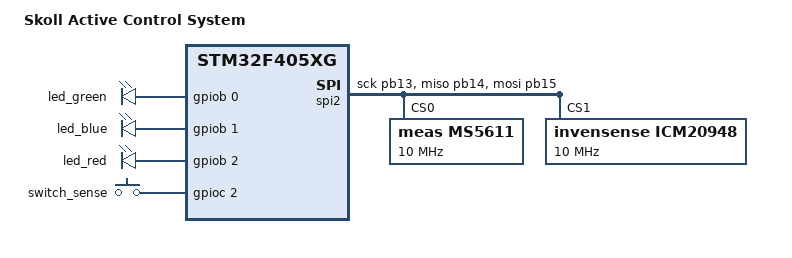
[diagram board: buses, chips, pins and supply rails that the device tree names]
/dts-v1/;

#include <st/f4/stm32f405Xg.dtsi>
#include <st/f4/stm32f405rgtx-pinctrl.dtsi>
#include "skoll.dtsi"
/*
things that we need to define:
PWM: buzzer, servo1, servo2, servo3, servo4 X
boot switch X
gpio: ledG, ledB, ledR, switch X
Oscillator (only Kconfig) X
SPI: MS5611, ICM20948 - add spi settings and icm20948 driver
battery sense X
can X
usb X
programming X

for each of the above I need to add: pinctrl, node (peripheral), setting, status, 
alias, chosen (?)
*/

/ {
    model = "Skoll Active Control System";
    compatible = "aesir,skoll";

    chosen{
		zephyr,flash = &flash0;
        zephyr,sram = &sram0;
        zephyr,spi2 = &spi2;
        zephyr,can1 = &can1;
    };

    aliases{
        spi2 = &spi2;
        can1 = &can1;
    };

    leds{
        compatible = "gpio-leds";

        led_green: led_green{
            gpios = <&gpiob 0 GPIO_ACTIVE_HIGH>;
        };

        led_blue: led_blue{
            gpios = <&gpiob 1 GPIO_ACTIVE_HIGH>;
        };

        led_red: led_red{
            gpios = <&gpiob 2 GPIO_ACTIVE_HIGH>;
        };
    };

    switches{
        compatible = "gpio-keys";

        switch_sense: switch_sense{
            gpios = <&gpioc 2 GPIO_ACTIVE_HIGH>;
        };
    };

    pwm {        
        servo1: servo1 {
            status = "okay";
            pwms = <&pwm1 1 PWM_MSEC(20) PWM_POLARITY_NORMAL>;
        };

        servo2: servo2 {
            status = "okay";
            pwms = <&pwm2 2 PWM_MSEC(20) PWM_POLARITY_NORMAL>;
        };

        servo3: servo3 {
            status = "okay";
            pwms = <&pwm3 3 PWM_MSEC(20) PWM_POLARITY_NORMAL>;
        };

        servo4: servo4 {
            status = "okay";
            pwms = <&pwm4 1 PWM_MSEC(20) PWM_POLARITY_NORMAL>;
        };

        buzzer: buzzer {
            status = "okay";
            pwms = <&pwm5 2 PWM_MSEC(10) PWM_POLARITY_NORMAL>; // will override period in code
        };
    };
};


&spi2{
    status = "okay";
	pinctrl-0 = <&spi2_sck_pb13 &spi2_miso_pb14 &spi2_mosi_pb15>;
	pinctrl-names = "default";

    ms5611: ms5611@0{
        compatible = "meas,ms5611";
        reg = <0>;
        status = "okay";
        cs-gpios = <&gpioa 4 GPIO_ACTIVE_LOW>;
        spi-max-frequency = <10000000>;
        // fix spi settings (look at driver?)
    };

    icm20948: icm20948@1{
        compatible = "invensense,icm20948"; // fix driver
        reg = <1>;
        status = "okay";
        cs-gpios = <&gpiob 12 GPIO_ACTIVE_LOW>;
        spi-max-frequency = <10000000>;
        // fix spi settings (look at driver?)
    };
};


